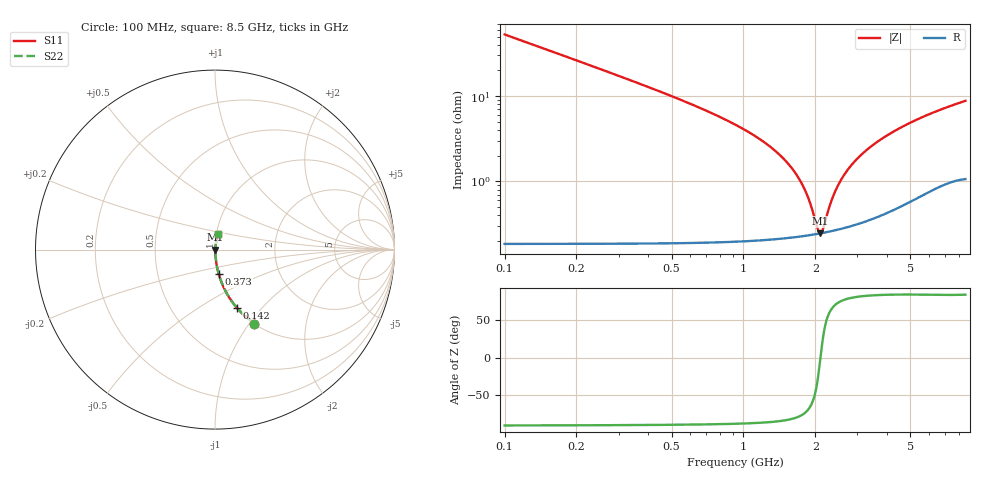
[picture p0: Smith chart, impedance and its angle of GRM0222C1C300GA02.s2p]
!Murata Part Number: GRM0222C1C300GA02
!These Parameters are Measured in Series Mode Connection
!Data Generated on Mar 30, 2021
!  o--ll--o
!Port1  Port2
!  o------o
!Operation Temp=25[degC], DC Bias Voltage=0[V]
!Freq. Start=100[MHz] Stop=9[GHz] 401[Steps]
# Hz S RI R 50
!Freq.(Hz) S11(Real) S11(Imag) S21(Real) S21(Imag) S12(Real) S12(Imag) S22(Real) S22(Imag)
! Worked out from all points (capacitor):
!   401 points, 100 MHz to 8.5 GHz, reference 50 ohm
!   read as one part in series: C = 30 pF near 142 MHz
!   lowest |Z| = 246 mohm at 2.095 GHz (marker M1)
!   series resonance near 2.102 GHz, so ESL is about 190 pH
!   S11 on the Smith chart (normalised r, x): 100 MHz: 1.00, -1.06; 142 MHz: 1.00, -0.74; 373 MHz: 1.00, -0.28; 8.5 GHz: 1.02, +0.18
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1e8  0.2197 -0.4123  0.7803 0.4123  0.7803 0.4123  0.2197 -0.4123
1.42e8  0.1227 -0.3257  0.8773 0.3257  0.8773 0.3257  0.1227 -0.3257
1.84e8  0.0771 -0.2636  0.9229 0.2636  0.9229 0.2636  0.0771 -0.2636
2.47e8  0.0446 -0.202  0.9554 0.202  0.9554 0.202  0.0446 -0.202
3.73e8  0.0204 -0.1347  0.9796 0.1347  0.9796 0.1347  0.0204 -0.1347
6.67e8  0.00696 -0.0709  0.993 0.0709  0.993 0.0709  0.00696 -0.0709
1.507e9  0.00244 -0.017  0.9976 0.017  0.9976 0.017  0.00244 -0.017
1.654e9  0.00236 -0.0121  0.9976 0.0121  0.9976 0.0121  0.00236 -0.0121
1.78e9  0.00234 -0.00838  0.9977 0.00838  0.9977 0.00838  0.00234 -0.00838
1.885e9  0.00236 -0.00548  0.9976 0.00548  0.9976 0.00548  0.00236 -0.00548
2.032e9  0.00241 -0.0017  0.9976 0.0017  0.9976 0.0017  0.00241 -0.0017
2.095e9  0.00245 -0.000168  0.9976 0.000168  0.9976 0.000168  0.00245 -0.000168
2.158e9  0.00249 0.00132  0.9975 -0.00132  0.9975 -0.00132  0.00249 0.00132
2.326e9  0.00262 0.00508  0.9974 -0.00508  0.9974 -0.00508  0.00262 0.00508
2.473e9  0.00276 0.00817  0.9972 -0.00817  0.9972 -0.00817  0.00276 0.00817
2.662e9  0.00298 0.0119  0.997 -0.0119  0.997 -0.0119  0.00298 0.0119
2.914e9  0.00333 0.0166  0.9967 -0.0166  0.9967 -0.0166  0.00333 0.0166
3.502e9  0.00435 0.0265  0.9957 -0.0265  0.9957 -0.0265  0.00435 0.0265
4.3e9  0.00614 0.0384  0.9939 -0.0384  0.9939 -0.0384  0.00614 0.0384
5.707e9  0.0102 0.0565  0.9898 -0.0565  0.9898 -0.0565  0.0102 0.0565
7.114e9  0.0145 0.0718  0.9855 -0.0718  0.9855 -0.0718  0.0145 0.0718
8.5e9  0.0179 0.0851  0.9821 -0.0851  0.9821 -0.0851  0.0179 0.0851
